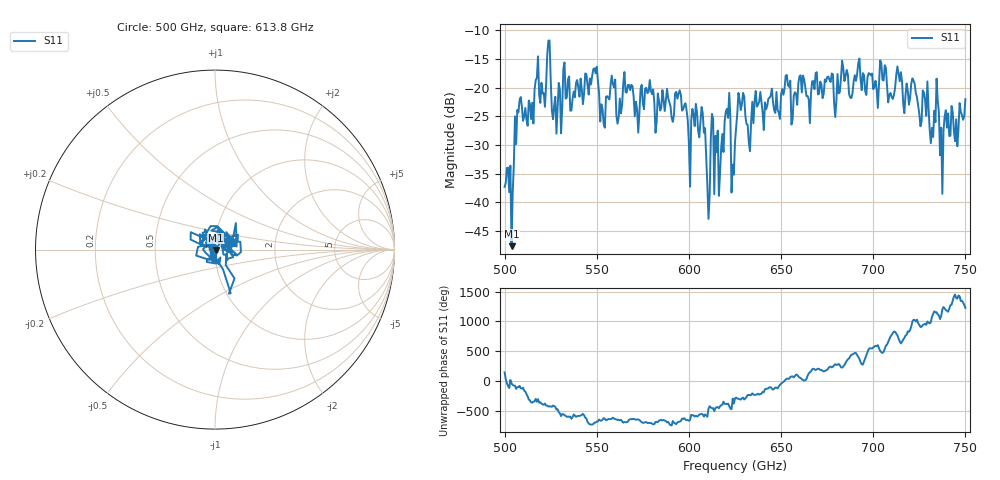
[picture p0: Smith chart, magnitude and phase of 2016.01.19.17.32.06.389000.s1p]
!Created with skrf (http://scikit-rf.org).
# GHz S RI R 50.0
!freq ReS11 ImS11
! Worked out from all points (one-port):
!   401 points, 500 GHz to 750 GHz, reference 50 ohm
!   lowest |S11| = -47.6 dB at 503.8 GHz (marker M1), VSWR 1.01, Z = 50.3 - j0.28 ohm
!   |S11| at or under -10 dB: start of sweep to end of sweep
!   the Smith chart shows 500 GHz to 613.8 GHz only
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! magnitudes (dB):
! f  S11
! 500 GHz  -37.3
! 503.8 GHz  -47.6
! 508.1 GHz  -22.2
! 520.6 GHz  -21.0
! 523.8 GHz  -11.8
! 526.9 GHz  -23.1
! 531.2 GHz  -23.6
! 548.8 GHz  -16.6
! 553.1 GHz  -23.7
! 558.8 GHz  -19.3
! 562.5 GHz  -21.9
! 593.8 GHz  -21.9
! 600 GHz  -29.7
! 607.5 GHz  -24.5
! 610.6 GHz  -42.9
! 613.1 GHz  -25.4
! 617.5 GHz  -30.5
! 620.6 GHz  -23.7
! 625 GHz  -29.5
! 628.1 GHz  -23.9
! 632.5 GHz  -29.6
! 637.5 GHz  -23.0
! 656.2 GHz  -25.5
! 687.5 GHz  -21.7
! 718.8 GHz  -20.6
! 734.4 GHz  -18.4
! 737.5 GHz  -38.5
! 750 GHz  -22.0
